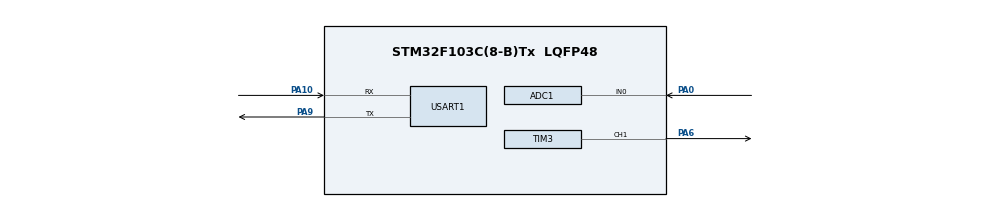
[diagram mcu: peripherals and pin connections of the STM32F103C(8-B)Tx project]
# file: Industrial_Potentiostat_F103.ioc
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ADC1.Channel-0\#ChannelRegularConversion=ADC_CHANNEL_0
ADC1.NbrOfConversion=1
ADC1.NbrOfConversionFlag=1
ADC1.Rank-0\#ChannelRegularConversion=1
ADC1.SamplingTime-0\#ChannelRegularConversion=ADC_SAMPLETIME_55CYCLES_5
ADC1.master=1
Mcu.Family=STM32F1
Mcu.Name=STM32F103C(8-B)Tx
Mcu.Package=LQFP48
NVIC.PriorityGroup=NVIC_PRIORITYGROUP_4
PA0-WKUP.Signal=ADCx_IN0
PA10.Mode=Asynchronous
PA10.Signal=USART1_RX
PA13.Mode=Serial_Wire
PA13.Signal=SYS_JTMS-SWDIO
PA14.Mode=Serial_Wire
PA14.Signal=SYS_JTCK-SWCLK
PA6.Signal=S_TIM3_CH1
PA9.Mode=Asynchronous
PA9.Signal=USART1_TX
ProjectManager.HeapSize=0x200
ProjectManager.StackSize=0x400
ProjectManager.TargetToolchain=STM32CubeIDE
RCC.APB1Freq_Value=8000000
RCC.APB2Freq_Value=8000000
SH.ADCx_IN0.0=ADC1_IN0,IN0
SH.S_TIM3_CH1.0=TIM3_CH1,PWM Generation1 CH1
TIM3.Channel-PWM\ Generation1\ CH1=TIM_CHANNEL_1
TIM3.Period=999
TIM3.Prescaler=7
TIM3.Pulse-PWM\ Generation1\ CH1=500
USART1.VirtualMode=VM_ASYNC
VP_TIM3_VS_ClockSourceINT.Mode=Internal
board=custom

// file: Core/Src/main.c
/* USER CODE BEGIN Header */
/**
  ******************************************************************************
  * @file           : main.c
  * @brief          : Main program body
  ******************************************************************************
  * @attention
  *
  * Copyright (c) 2026 STMicroelectronics.
  * All rights reserved.
  *
  * This software is licensed under terms that can be found in the LICENSE file
  * in the root directory of this software component.
  * If no LICENSE file comes with this software, it is provided AS-IS.
  *
  ******************************************************************************
  */
/* USER CODE END Header */
#include "main.h"
#include "adc.h"
#include "tim.h"
#include "usart.h"
#include "gpio.h"

/* USER CODE BEGIN Includes */
#include <stdio.h>

/* USER CODE END Includes */

/* USER CODE BEGIN PV */
static uint32_t adc_raw = 0;
static uint16_t target_raw = 2048;

static int32_t error = 0;

static float kp = 0.010f;
static float ki = 0.002f;

static float integral = 0.0f;
static float control_output = 50.0f;

static uint8_t duty = 50;

static char uart_buf[128];

/* USER CODE END PV */

void SystemClock_Config(void);

int main(void)
{

  /* MCU Configuration--------------------------------------------------------*/

  /* Reset of all peripherals, Initializes the Flash interface and the Systick. */
  HAL_Init();

  /* Configure the system clock */
  SystemClock_Config();

  /* Initialize all configured peripherals */
  MX_GPIO_Init();
  MX_ADC1_Init();
  MX_USART1_UART_Init();
  MX_TIM3_Init();
  /* USER CODE BEGIN 2 */
  if (HAL_ADCEx_Calibration_Start(&hadc1) != HAL_OK)
  {
      Error_Handler();
  }

  if (HAL_TIM_PWM_Start(&htim3, TIM_CHANNEL_1) != HAL_OK)
  {
      Error_Handler();
  }

  __HAL_TIM_SET_COMPARE(&htim3, TIM_CHANNEL_1, 500);
  /* USER CODE END 2 */

  /* Infinite loop */
  /* USER CODE BEGIN WHILE */
  uint32_t test_start_ms = HAL_GetTick();

  while (1)
  {
    /* USER CODE END WHILE */

    /* USER CODE BEGIN 3 */
	  uint32_t elapsed_ms = HAL_GetTick() - test_start_ms;

	      if (elapsed_ms < 10000U)
	      {
	          target_raw = 2048;
	      }
	      else if (elapsed_ms < 90000U)
	      {
	          target_raw = 2400;
	      }
	      else
	      {
	          target_raw = 2048;
	      }

	  uint32_t adc_sum = 0U;
	  uint32_t adc_count = 0U;

	  for (uint32_t sample = 0U; sample < 8U; sample++)
	  {
	      if (HAL_ADC_Start(&hadc1) == HAL_OK)
	      {
	          if (HAL_ADC_PollForConversion(&hadc1, 100U) == HAL_OK)
	          {
	              adc_sum += HAL_ADC_GetValue(&hadc1);
	              adc_count++;
	          }
	      }

	      (void)HAL_ADC_Stop(&hadc1);
	  }

	  if (adc_count > 0U)
	  {
	      adc_raw = adc_sum / adc_count;

	      error = (int32_t)target_raw - (int32_t)adc_raw;

	      integral += (float)error * 0.1f;

	      if (integral > 5000.0f)
	      {
	          integral = 5000.0f;
	      }
	      else if (integral < -5000.0f)
	      {
	          integral = -5000.0f;
	      }

	      control_output =
	          50.0f
	          + kp * (float)error
	          + ki * integral;

	      if (control_output > 100.0f)
	      {
	          control_output = 100.0f;
	      }
	      else if (control_output < 0.0f)
	      {
	          control_output = 0.0f;
	      }

	      uint32_t output_x100 =
	          (uint32_t)(control_output * 100.0f + 0.5f);

	      uint32_t arr = __HAL_TIM_GET_AUTORELOAD(&htim3);

	      uint32_t compare =
	          (uint32_t)(((arr + 1U) * control_output) / 100.0f + 0.5f);

	      if (compare > arr)
	      {
	          compare = arr;
	      }

	      __HAL_TIM_SET_COMPARE(
	          &htim3,
	          TIM_CHANNEL_1,
	          compare
	      );

	      duty = (uint8_t)(control_output + 0.5f);

	      int32_t integral_log = (int32_t)integral;
	      uint32_t tick_ms = HAL_GetTick();

	      int len = snprintf(
	          uart_buf,
	          sizeof(uart_buf),
			  "TICK=%lu,ADC=%lu,TARGET=%u,INT=%ld,ERR=%ld,KP=0.010,KI=0.002,OUT=%lu,DUTY=%u\r\n",
	          (unsigned long)tick_ms,
	          (unsigned long)adc_raw,
	          target_raw,
	          (long)integral_log,
	          (long)error,
	          (unsigned long)output_x100,
	          duty
	      );

	      if (len > 0)
	      {
	          HAL_UART_Transmit(
	              &huart1,
	              (uint8_t *)uart_buf,
	              (uint16_t)len,
	              100
	          );
	      }
	  }

	  HAL_Delay(100U);
  }
  /* USER CODE END 3 */
}

void SystemClock_Config(void)
{
  RCC_OscInitTypeDef RCC_OscInitStruct = {0};
  RCC_ClkInitTypeDef RCC_ClkInitStruct = {0};
  RCC_PeriphCLKInitTypeDef PeriphClkInit = {0};

  /** Initializes the RCC Oscillators according to the specified parameters
  * in the RCC_OscInitTypeDef structure.
  */
  RCC_OscInitStruct.OscillatorType = RCC_OSCILLATORTYPE_HSI;
  RCC_OscInitStruct.HSIState = RCC_HSI_ON;
  RCC_OscInitStruct.HSICalibrationValue = RCC_HSICALIBRATION_DEFAULT;
  RCC_OscInitStruct.PLL.PLLState = RCC_PLL_NONE;
  if (HAL_RCC_OscConfig(&RCC_OscInitStruct) != HAL_OK)
  {
    Error_Handler();
  }

  /** Initializes the CPU, AHB and APB buses clocks
  */
  RCC_ClkInitStruct.ClockType = RCC_CLOCKTYPE_HCLK|RCC_CLOCKTYPE_SYSCLK
                              |RCC_CLOCKTYPE_PCLK1|RCC_CLOCKTYPE_PCLK2;
  RCC_ClkInitStruct.SYSCLKSource = RCC_SYSCLKSOURCE_HSI;
  RCC_ClkInitStruct.AHBCLKDivider = RCC_SYSCLK_DIV1;
  RCC_ClkInitStruct.APB1CLKDivider = RCC_HCLK_DIV1;
  RCC_ClkInitStruct.APB2CLKDivider = RCC_HCLK_DIV1;

  if (HAL_RCC_ClockConfig(&RCC_ClkInitStruct, FLASH_LATENCY_0) != HAL_OK)
  {
    Error_Handler();
  }
  PeriphClkInit.PeriphClockSelection = RCC_PERIPHCLK_ADC;
  PeriphClkInit.AdcClockSelection = RCC_ADCPCLK2_DIV2;
  if (HAL_RCCEx_PeriphCLKConfig(&PeriphClkInit) != HAL_OK)
  {
    Error_Handler();
  }
}

void Error_Handler(void)
{
  __disable_irq();
  while (1)
  {
  }
}
